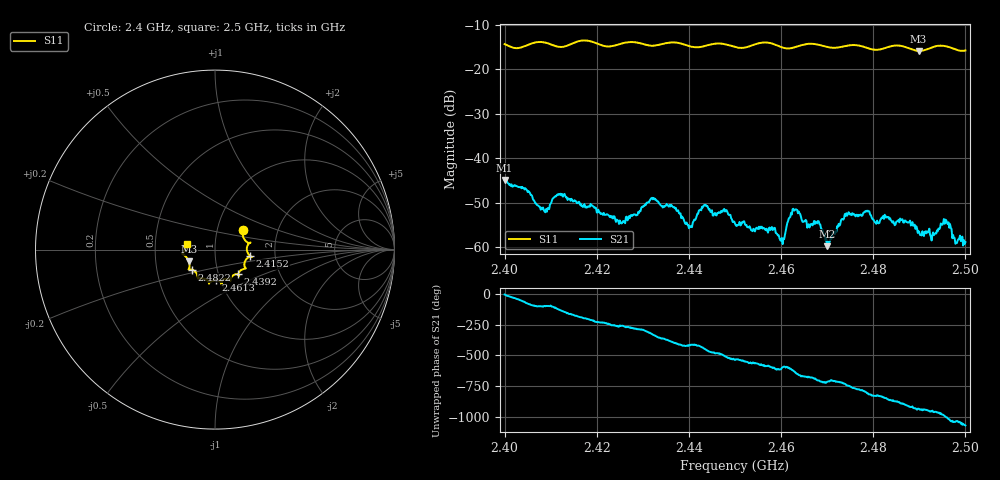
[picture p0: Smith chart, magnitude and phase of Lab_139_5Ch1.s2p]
# Hz S RI R 50
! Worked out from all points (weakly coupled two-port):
!   601 points, 2.4 GHz to 2.5 GHz, reference 50 ohm
!   highest |S21| = -44.84 dB at 2.4 GHz (marker M1); lowest = -59.7 dB at 2.47 GHz (marker M2)
!   lowest |S11| = -15.9 dB at 2.4898 GHz (marker M3), VSWR 1.38, Z = 37 - j5.03 ohm
!   |S11| at or under -10 dB: start of sweep to end of sweep
!   S12 and S22 are empty: the file has one direction only
!   S11 on the Smith chart (normalised r, x): 2.4 GHz: 1.33, +0.31; 2.4152 GHz: 1.48, -0.11; 2.4392 GHz: 1.24, -0.35; 2.4613 GHz: 0.96, -0.34; 2.4822 GHz: 0.76, -0.17; 2.5 GHz: 0.73, +0.05
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2.4e9  0.1556 0.1106  0.00569 -0.000666  0 0  0 0
2.408667e9  0.1955 0.0394  -0.000381 -0.00251  0 0  0 0
2.411667e9  0.1778 0.0114  -0.00234 -0.00311  0 0  0 0
2.415167e9  0.195 -0.0359  -0.00337 -0.000241  0 0  0 0
2.416667e9  0.2046 -0.0421  -0.00286 0.00057  0 0  0 0
2.425667e9  0.1675 -0.1006  -0.000347 0.00193  0 0  0 0
2.433333e9  0.132 -0.1321  0.00326 0.000362  0 0  0 0
2.439167e9  0.127 -0.1379  0.000814 -0.00167  0 0  0 0
2.4435e9  0.088 -0.1594  6.39e-05 -0.00295  0 0  0 0
2.45e9  0.0687 -0.1638  -0.00185 -9.21e-05  0 0  0 0
2.460167e9  0.0225 -0.1744  -0.000637 0.00111  0 0  0 0
2.461333e9  0.00704 -0.1706  -0.00109 0.00152  0 0  0 0
2.463e9  -0.017 -0.1752  0.000205 0.00263  0 0  0 0
2.466667e9  -0.0336 -0.1897  0.00138 0.0012  0 0  0 0
2.47e9  -0.0428 -0.1719  0.00103 0.000111  0 0  0 0
2.474333e9  -0.0883 -0.1608  0.00209 -0.000899  0 0  0 0
2.482167e9  -0.1279 -0.1119  -0.00116 -0.00194  0 0  0 0
2.483333e9  -0.1393 -0.1103  -0.00165 -0.00145  0 0  0 0
2.489833e9  -0.1457 -0.0662  -0.00129 0.000811  0 0  0 0
2.495833e9  -0.1793 -0.0187  0.000429 0.00198  0 0  0 0
2.497667e9  -0.1675 -0.00447  0.000971 0.000829  0 0  0 0
2.5e9  -0.1582 0.0337  0.00112 0.000232  0 0  0 0
